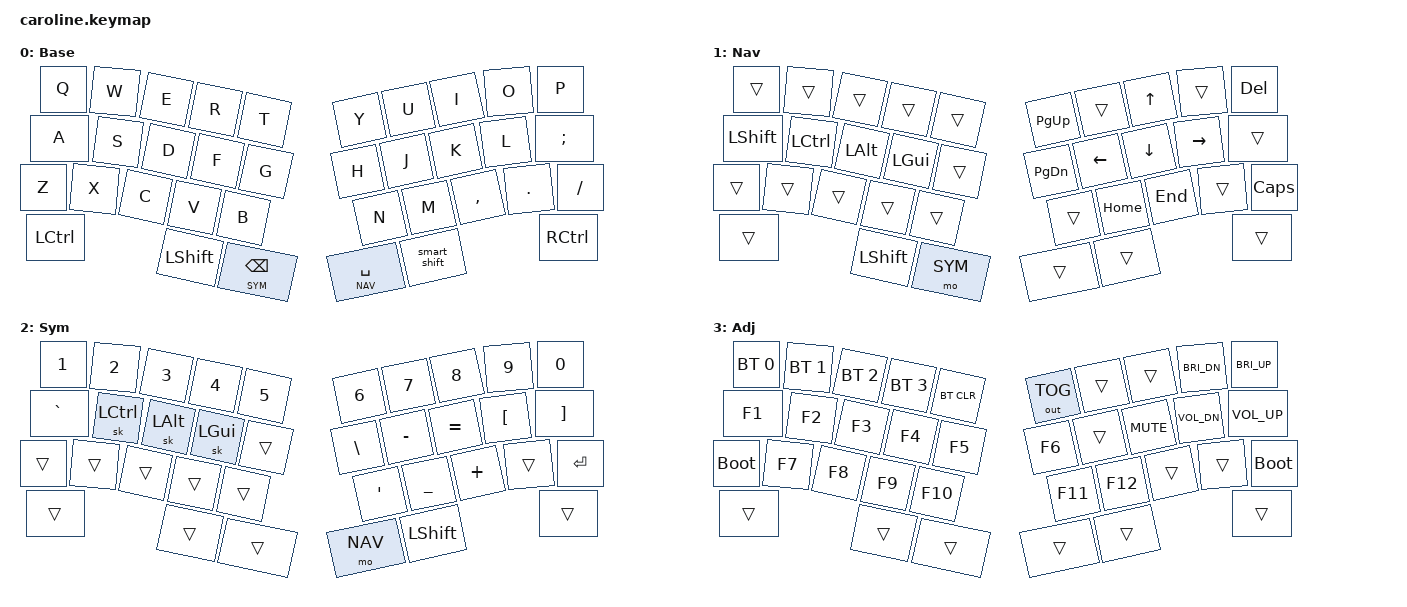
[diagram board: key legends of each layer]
/*
 * Copyright (c) 2026 carrefinho
 * SPDX-License-Identifier: MIT
 *
 * Reference keymap: QWERTY with Nav, Sym and Adj layers. Hold the left inner
 * thumb for Sym and the right inner thumb for Nav; hold both for Adj.
 * Modifiers sit on the home row of Nav and Sym. Bluetooth keys on Adj do
 * nothing on the USB-only SAMD21 and RP2040.
 *
 *    0  1  2  3  4      5  6  7  8  9
 *   10 11 12 13 14     15 16 17 18 19
 *   20 21 22 23 24     25 26 27 28 29
 *   30       31 32     33 34       35
 */

#include <behaviors.dtsi>
#include <dt-bindings/zmk/keys.h>
#include <dt-bindings/zmk/bt.h>
#include <dt-bindings/zmk/outputs.h>

#define BASE 0
#define NAV  1
#define SYM  2
#define ADJ  3

/ {
	behaviors {
		/* Tap for a one-shot Shift, Shift + tap for Caps Word. */
		smart_shift: smart_shift {
			compatible = "zmk,behavior-mod-morph";
			#binding-cells = <0>;
			bindings = <&sk LSHFT>, <&caps_word>;
			mods = <(MOD_LSFT|MOD_RSFT)>;
		};
	};

	combos {
		compatible = "zmk,combos";
		/* Q + A */
		tab {
			timeout-ms = <75>;
			key-positions = <0 10>;
			bindings = <&kp TAB>;
		};
		/* A + Z */
		esc {
			timeout-ms = <75>;
			key-positions = <10 20>;
			bindings = <&kp ESC>;
		};
		/* P + ; */
		quote {
			timeout-ms = <75>;
			key-positions = <9 19>;
			bindings = <&kp SQT>;
		};
		/* . + / */
		enter {
			timeout-ms = <75>;
			key-positions = <28 29>;
			bindings = <&kp ENTER>;
		};
	};

	conditional_layers {
		compatible = "zmk,conditional-layers";
		adj {
			if-layers = <NAV SYM>;
			then-layer = <ADJ>;
		};
	};

	keymap {
		compatible = "zmk,keymap";

		base {
			display-name = "Base";
			bindings = <
				&kp Q      &kp W      &kp E      &kp R      &kp T          &kp Y          &kp U      &kp I      &kp O      &kp P
				&kp A      &kp S      &kp D      &kp F      &kp G          &kp H          &kp J      &kp K      &kp L      &kp SEMI
				&kp Z      &kp X      &kp C      &kp V      &kp B          &kp N          &kp M      &kp COMMA  &kp DOT    &kp FSLH
				&kp LCTRL                        &kp LSHFT  &lt SYM BSPC   &lt NAV SPACE  &smart_shift                     &kp RCTRL
			>;
		};

		nav {
			display-name = "Nav";
			bindings = <
				&trans     &trans     &trans     &trans     &trans         &kp PG_UP      &trans     &kp UP     &trans     &kp DEL
				&kp LSHFT  &kp LCTRL  &kp LALT   &kp LGUI   &trans         &kp PG_DN      &kp LEFT   &kp DOWN   &kp RIGHT  &trans
				&trans     &trans     &trans     &trans     &trans         &trans         &kp HOME   &kp END    &trans     &kp CAPS
				&trans                           &kp LSHFT  &mo SYM        &trans         &trans                           &trans
			>;
		};

		sym {
			display-name = "Sym";
			bindings = <
				&kp N1     &kp N2     &kp N3     &kp N4     &kp N5         &kp N6         &kp N7     &kp N8     &kp N9     &kp N0
				&kp GRAVE  &sk LCTRL  &sk LALT   &sk LGUI   &trans         &kp BSLH       &kp MINUS  &kp EQUAL  &kp LBKT   &kp RBKT
				&trans     &trans     &trans     &trans     &trans         &kp SQT        &kp UNDER  &kp PLUS   &trans     &kp ENTER
				&trans                           &trans     &trans         &mo NAV        &kp LSHFT                        &trans
			>;
		};

		adj {
			display-name = "Adj";
			bindings = <
				&bt BT_SEL 0  &bt BT_SEL 1  &bt BT_SEL 2  &bt BT_SEL 3  &bt BT_CLR    &out OUT_TOG  &trans    &trans      &kp C_BRI_DN  &kp C_BRI_UP
				&kp F1        &kp F2        &kp F3        &kp F4        &kp F5        &kp F6        &trans    &kp C_MUTE  &kp C_VOL_DN  &kp C_VOL_UP
				&bootloader   &kp F7        &kp F8        &kp F9        &kp F10       &kp F11       &kp F12   &trans      &trans        &bootloader
				&trans                                    &trans        &trans        &trans        &trans                              &trans
			>;
		};
	};
};
